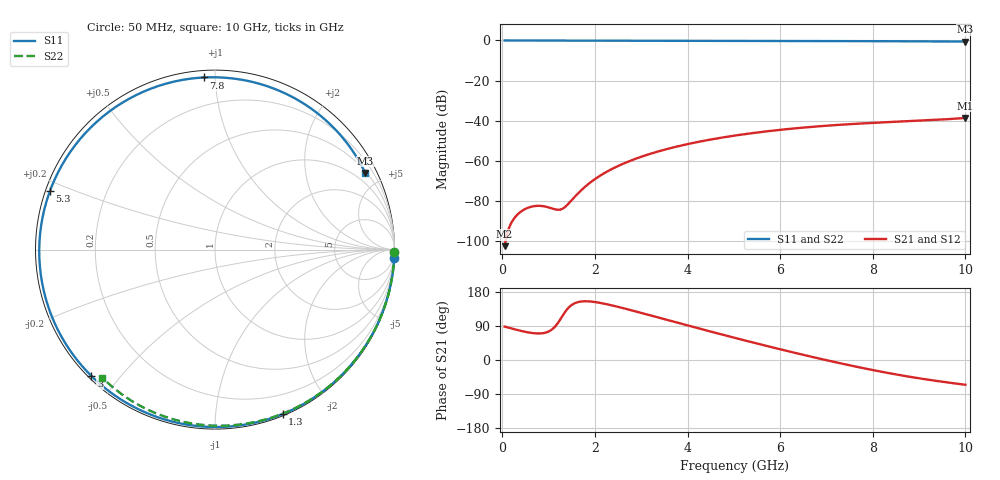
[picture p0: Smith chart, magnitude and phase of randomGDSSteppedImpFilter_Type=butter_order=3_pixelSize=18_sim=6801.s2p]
! freq	dB(S11)	phase(S11)	dB(S12)	phase(S12)
!  dB(S21)	phase(S21)	dB(S22)	phase(S22)
!S-par simulation data
#  GHz  S  DB  R 50
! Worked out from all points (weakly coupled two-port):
!   200 points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, 50 MHz to 10 GHz, reference 50 ohm
!   highest |S21| = -38.58 dB at 10 GHz (marker M1); lowest = -102.4 dB at 50 MHz (marker M2)
!   lowest |S11| = -0.5 dB at 10 GHz (marker M3), VSWR 32.10, Z = 28 + j204 ohm
!   |S11| at or under -10 dB: nowhere
!   |S22| runs from -0.4 to 0.0 dB; largest |S21 - S12| = 0
!   S11 on the Smith chart (normalised r, x): 50 MHz: 0, -41; 1.3 GHz: 0.01, -1.49; 3 GHz: 0.01, -0.42; 5.3 GHz: 0.01, +0.17; 7.8 GHz: 0.04, +0.94; 10 GHz: 0.56, +4.09
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0.05  -0.00 -2.8  -102.39 88.3  -102.39 88.3  -0.00 -0.8
0.3  -0.02 -16.5  -87.32 80.0  -87.32 80.0  -0.01 -4.5
0.6  -0.04 -32.6  -82.92 72.0  -82.92 72.0  -0.01 -9.1
0.95  -0.06 -50.6  -82.78 72.8  -82.78 72.8  -0.02 -14.3
1.3  -0.08 -67.6  -83.76 116.6  -83.76 116.6  -0.02 -19.5
1.5  -0.09 -76.8  -79.46 145.3  -79.46 145.3  -0.03 -22.5
1.75  -0.10 -87.8  -73.57 154.9  -73.57 154.9  -0.03 -26.2
2  -0.11 -98.1  -69.01 153.0  -69.01 153.0  -0.04 -29.8
2.3  -0.11 -109.8  -64.79 146.0  -64.79 146.0  -0.04 -34.2
3  -0.13 -134.4  -57.89 124.3  -57.89 124.3  -0.06 -44.2
3.4  -0.14 -147.0  -55.02 111.1  -55.02 111.1  -0.07 -49.8
3.8  -0.16 -158.9  -52.64 97.8  -52.64 97.8  -0.08 -55.4
4.2  -0.17 -170.3  -50.63 84.7  -50.63 84.7  -0.09 -60.8
5.05  -0.20 166.8  -47.24 57.5  -47.24 57.5  -0.11 -72.1
5.3  -0.21 160.3  -46.43 49.7  -46.43 49.7  -0.12 -75.4
6  -0.25 142.1  -44.49 28.3  -44.49 28.3  -0.15 -84.3
6.7  -0.28 123.8  -42.97 7.9  -42.97 7.9  -0.18 -93.0
7.25  -0.31 109.0  -42.03 -7.3  -42.03 -7.3  -0.21 -99.6
7.8  -0.34 93.8  -41.27 -21.6  -41.27 -21.6  -0.25 -106.1
8.35  -0.38 78.0  -40.63 -34.7  -40.63 -34.7  -0.29 -112.5
9.15  -0.44 54.0  -39.76 -51.1  -39.76 -51.1  -0.36 -121.7
10  -0.54 27.0  -38.58 -65.3  -38.58 -65.3  -0.45 -131.3
